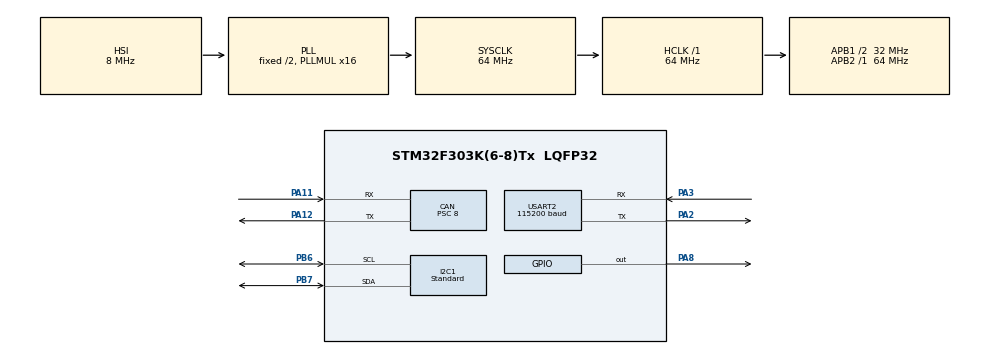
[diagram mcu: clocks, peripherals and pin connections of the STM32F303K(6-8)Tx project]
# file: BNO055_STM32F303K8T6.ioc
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CAN.BS1=CAN_BS1_13TQ
CAN.BS2=CAN_BS2_2TQ
CAN.CalculateBaudRate=250000
CAN.CalculateTimeBit=4000
CAN.CalculateTimeQuantum=250.0
CAN.Prescaler=8
I2C1.I2C_Speed_Mode=I2C_Standard
I2C1.Timing=0x00201D2B
Mcu.Family=STM32F3
Mcu.Name=STM32F303K(6-8)Tx
Mcu.Package=LQFP32
NVIC.PriorityGroup=NVIC_PRIORITYGROUP_4
PA11.Mode=CAN_Activate
PA11.Signal=CAN_RX
PA12.Mode=CAN_Activate
PA12.Signal=CAN_TX
PA13.Mode=Serial_Wire
PA13.Signal=SYS_JTMS-SWDIO
PA14.Mode=Serial_Wire
PA14.Signal=SYS_JTCK-SWCLK
PA2.Mode=Asynchronous
PA2.Signal=USART2_TX
PA3.Mode=Asynchronous
PA3.Signal=USART2_RX
PA8.Signal=GPIO_Output
PB6.Mode=I2C
PB6.Signal=I2C1_SCL
PB7.Mode=I2C
PB7.Signal=I2C1_SDA
PF0\ /\ OSC_IN.Mode=HSE-External-Oscillator
PF0\ /\ OSC_IN.Signal=RCC_OSC_IN
PF1\ /\ OSC_OUT.Mode=HSE-External-Oscillator
PF1\ /\ OSC_OUT.Signal=RCC_OSC_OUT
ProjectManager.HeapSize=0x200
ProjectManager.StackSize=0x400
ProjectManager.TargetToolchain=STM32CubeIDE
RCC.AHBFreq_Value=64000000
RCC.APB1CLKDivider=RCC_HCLK_DIV2
RCC.APB1Freq_Value=32000000
RCC.APB1TimFreq_Value=64000000
RCC.APB2Freq_Value=64000000
RCC.APB2TimFreq_Value=64000000
RCC.CortexFreq_Value=64000000
RCC.HCLKFreq_Value=64000000
RCC.HSE_VALUE=8000000
RCC.HSI_VALUE=8000000
RCC.PLLMUL=RCC_PLL_MUL16
RCC.SYSCLKFreq_VALUE=64000000
RCC.SYSCLKSourceVirtual=RCC_SYSCLKSOURCE_PLLCLK
USART2.BaudRate=115200
USART2.VirtualMode-Asynchronous=VM_ASYNC
board=custom

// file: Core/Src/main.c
/* USER CODE BEGIN Header */
/**
  ******************************************************************************
  * @file           : main.c
  * @brief          : Main program body
  ******************************************************************************
  * @attention
  *
  * Copyright (c) 2026 STMicroelectronics.
  * All rights reserved.
  *
  * This software is licensed under terms that can be found in the LICENSE file
  * in the root directory of this software component.
  * If no LICENSE file comes with this software, it is provided AS-IS.
  *
  ******************************************************************************
  */
/* USER CODE END Header */
#include "main.h"

/* USER CODE BEGIN Includes */
#include "bno055.h"
#include "calib_storage.h"
#include "stdbool.h"
/* USER CODE END Includes */

CAN_HandleTypeDef hcan;

I2C_HandleTypeDef hi2c1;

UART_HandleTypeDef huart2;

/* USER CODE BEGIN PV */
char debug[64];
float quat[4];
float quat_filtered[4] = {1.0f, 0.0f, 0.0f, 0.0f};
float heading_raw;
float heading_filtered = -1.0f;
float head;
static float headingOffset = 0.0f;
static bool headingZeroed = false;

uint8_t TxData[8];
uint8_t RxData[8];
uint16_t can_Head = 0;
uint32_t TxMailbox;
uint32_t last_tick = 0;          /* for fixed-rate loop */

CAN_TxHeaderTypeDef TxHeader;
CAN_RxHeaderTypeDef RxHeader;

#define LOOP_PERIOD_MS       5U        /* 10 ms = 100 Hz */
#define QUAT_SLERP_ALPHA     0.15f      /* faster at 100 Hz — was 0.08 at 10 Hz */
#define HEADING_LPF_ALPHA    0.18f      /* faster at 100 Hz — was 0.10 at 10 Hz */
#define HEADING_JUMP_THRESH  60.0f
/* USER CODE END PV */

void SystemClock_Config(void);
static void MX_GPIO_Init(void);
static void MX_CAN_Init(void);
static void MX_I2C1_Init(void);
static void MX_USART2_UART_Init(void);
/* USER CODE BEGIN PFP */
void canTransmit(uint16_t val);
void canInit_recieveMultiID(void);
/* USER CODE END PFP */

int main(void)
{

  /* MCU Configuration--------------------------------------------------------*/

  /* Reset of all peripherals, Initializes the Flash interface and the Systick. */
  HAL_Init();

  /* Configure the system clock */
  SystemClock_Config();

  /* Initialize all configured peripherals */
  MX_GPIO_Init();
  MX_CAN_Init();
  MX_I2C1_Init();
  MX_USART2_UART_Init();
  /* USER CODE BEGIN 2 */
  //HAL_CAN_Start(&hcan);
  canInit_recieveMultiID();
  TxHeader.IDE = CAN_ID_STD;
  TxHeader.StdId = 0x691;
  TxHeader.RTR = CAN_RTR_DATA;
  TxHeader.DLC = 8;
  bno055_Reset();
  bno055_Scan();
  bno055_Post();
  bno055_Init();

  uint8_t offsets[CALIB_OFFSET_COUNT];

  if (calib_storage_load(offsets))
  {
    //serialWrite("Calibration data found in Flash — restoring offsets.\n");
    bno055_Offset_Write(offsets, CALIB_OFFSET_COUNT, BNO055_OPERATION_MODE_NDOF);
    HAL_Delay(650);
    ///serialWrite("Offsets restored — sensor ready.\n");
  }
  else
  {
    //serialWrite("No calibration data in Flash — starting full calibration.\n");
    //serialWrite("Follow the physical procedure:\n");
    //serialWrite("  1. Set on flat surface — do not touch (gyro)\n");
    //serialWrite("  2. Rotate through 6 distinct faces, hold each 2-3s (acc)\n");
    //serialWrite("  3. Figure-8 motion away from metal objects (mag)\n");

    bno055_SetOprMode(BNO055_OPERATION_MODE_NDOF);
    HAL_Delay(650);

    /*
     * Poll until sys=3 gyr=3 acc=3 mag=3 (calib == 0xFF).
     * 300 000 ms = 5 minutes — enough for even a slow magnetometer.
     * Increase if needed.
     */
    uint8_t calib = 0;
    bno055_Calibration_Status(&calib, 60000);

    if (calib == 0xFF)
    {
      bno055_Offset_Read(offsets, CALIB_OFFSET_COUNT, BNO055_OPERATION_MODE_NDOF);

      HAL_StatusTypeDef flash_status = calib_storage_save(offsets);

      if (flash_status == HAL_OK)
      {
        //serialWrite("Offsets saved to Flash.\n");
        //serialWrite("Future resets will skip calibration automatically.\n");
      }
      else
      {
        /*
         * Flash write failed — sensor is calibrated for this session
         * but offsets will be lost on next reset.
         */
        //snprintf(debug, sizeof(debug),
          //       "Flash write fail (HAL error %d). "
            //     "Offsets lost on reset.\n", (int)flash_status);
        //serialWrite(debug);
      }
    }
    else
    {
      //serialWrite("WARNING: Calibration timed out — partial offsets NOT saved.\n");
      //serialWrite("Heading may be inaccurate this session.\n");
    }
  }

  //serialWrite("Waiting for fusion engine...\n");
    {
      uint32_t t0 = HAL_GetTick();
      do {
        bno055_ReadQuatData(quat);
        HAL_Delay(10);
      } while (!bno055_QuatIsValid(quat) && (HAL_GetTick() - t0) < 1000U);

      if (bno055_QuatIsValid(quat))
      {
        /* Seed the SLERP accumulator and heading filter */
        quat_filtered[0] = quat[0];
        quat_filtered[1] = quat[1];
        quat_filtered[2] = quat[2];
        quat_filtered[3] = quat[3];
        heading_filtered  = bno055_QuatToHeading(quat_filtered);
       // serialWrite("Fusion engine ready.\n");
      }
      else
      {
        //serialWrite("WARNING: Fusion engine not ready after 1 s — proceeding.\n");
      }
    }

    //last_tick = HAL_GetTick();
  /* USER CODE END 2 */

  /* Infinite loop */
  /* USER CODE BEGIN WHILE */
    last_tick = HAL_GetTick();
    while (1)
    {
        /* USER CODE END WHILE */
        /* USER CODE BEGIN 3 */
		if (HAL_CAN_GetRxFifoFillLevel(&hcan, CAN_RX_FIFO0) > 0) {
			if (HAL_CAN_GetRxMessage(&hcan, CAN_RX_FIFO0, &RxHeader, RxData)
					!= HAL_OK) {
				Error_Handler();
			}
			if (RxHeader.StdId == 0x01 && RxData[0] == 1) {
				bno055_Reset();
				bno055_Scan();
				bno055_Post();
				bno055_Init();

				  uint8_t offsets[CALIB_OFFSET_COUNT];

				  if (calib_storage_load(offsets))
				  {
				   // serialWrite("Calibration data found in Flash — restoring offsets.\n");
				    bno055_Offset_Write(offsets, CALIB_OFFSET_COUNT, BNO055_OPERATION_MODE_NDOF);
				    HAL_Delay(650);
				    //serialWrite("Offsets restored — sensor ready.\n");
				  }

				  heading_filtered = -1.0f;
				  headingOffset = 0.0f;
				  headingZeroed = false;

				  //serialWrite("Waiting for fusion engine...\n");
				    {
				      uint32_t t0 = HAL_GetTick();
				      do {
				        bno055_ReadQuatData(quat);
				        HAL_Delay(10);
				      } while (!bno055_QuatIsValid(quat) && (HAL_GetTick() - t0) < 1000U);

				      if (bno055_QuatIsValid(quat))
				      {
				        /* Seed the SLERP accumulator and heading filter */
				        quat_filtered[0] = quat[0];
				        quat_filtered[1] = quat[1];
				        quat_filtered[2] = quat[2];
				        quat_filtered[3] = quat[3];
				        heading_filtered  = bno055_QuatToHeading(quat_filtered);
				    //    serialWrite("Fusion engine ready.\n");
				      }
				      else
				      {
				      //  serialWrite("WARNING: Fusion engine not ready after 1 s — proceeding.\n");
				      }
				    }
			}
			last_tick = HAL_GetTick();
		}

        /* ---- Fixed-rate timing: block until next 10 ms slot ---------- */
        uint32_t now = HAL_GetTick();
        if ((now - last_tick) < LOOP_PERIOD_MS) {
            /* Busy-wait the remainder — keeps jitter under 1 ms */
            continue;
        }
        last_tick = now;

        /* ---- 1. Read ------------------------------------------------- */
        bno055_ReadQuatData(quat);

        /* ---- 2. Validity gate ---------------------------------------- */
        if (!bno055_QuatIsValid(quat)) {
            /* Don't print every miss at 100 Hz — rate-limit the warning */
            static uint32_t invalid_count = 0;
            invalid_count++;
            if (invalid_count % 10 == 1) {    /* print 1st, 11th, 21st... */
               // snprintf(debug, sizeof(debug),
                 //        "WARN: invalid quat x%lu\n", invalid_count);
                //serialWrite(debug);
            }
            continue;   /* skip this tick, try again next 10 ms */
        }

        /* ---- 3. SLERP ------------------------------------------------ */
        bno055_QuatSlerp(quat_filtered, quat, QUAT_SLERP_ALPHA, quat_filtered);

        /* ---- 4. Raw heading from smoothed quat ----------------------- */
        heading_raw = bno055_QuatToHeading(quat_filtered);

        /* ---- 5. Seed filter on first valid reading ------------------- */
        if (heading_filtered < 0.0f) {
            heading_filtered = heading_raw;
        }

        /* ---- 6. Jump detection --------------------------------------- */
        if (HEADING_JUMP_THRESH > 0.0f &&
            bno055_HeadingJumpDetect(heading_raw, heading_filtered, HEADING_JUMP_THRESH)) {
            static uint32_t jump_count = 0;
            jump_count++;
            //snprintf(debug, sizeof(debug),
              //       "WARN: jump #%lu  %.1f->%.1f deg\n",
                //     jump_count,
                  //   (double)heading_filtered,
                    // (double)heading_raw);
            //serialWrite(debug);
            continue;
        }

        /* ---- 7. Circular LPF ---------------------------------------- */
        heading_filtered = bno055_HeadingLPF(heading_raw, heading_filtered,
                                              HEADING_LPF_ALPHA);

		if (!headingZeroed) {
		    headingOffset = heading_filtered;
		    headingZeroed = true;
		}

		float zeroedHeading = heading_filtered - headingOffset;
		head= zeroedHeading;
		if (zeroedHeading < 0.0f) zeroedHeading += 360.0f;
		if (zeroedHeading >= 360.0f) zeroedHeading -= 360.0f;

		can_Head = (uint16_t)(zeroedHeading * 100);

        /* ---- 8. Output ---------------------------------------------- */
        canTransmit(can_Head);
        //snprintf(debug, sizeof(debug), "Heading: %.2f deg\n", (double)zeroedHeading);
        //serialWrite(debug);
    }
    /* USER CODE END 3 */
}

void SystemClock_Config(void)
{
  RCC_OscInitTypeDef RCC_OscInitStruct = {0};
  RCC_ClkInitTypeDef RCC_ClkInitStruct = {0};
  RCC_PeriphCLKInitTypeDef PeriphClkInit = {0};

  /** Initializes the RCC Oscillators according to the specified parameters
  * in the RCC_OscInitTypeDef structure.
  */
  RCC_OscInitStruct.OscillatorType = RCC_OSCILLATORTYPE_HSI;
  RCC_OscInitStruct.HSIState = RCC_HSI_ON;
  RCC_OscInitStruct.HSICalibrationValue = RCC_HSICALIBRATION_DEFAULT;
  RCC_OscInitStruct.PLL.PLLState = RCC_PLL_ON;
  RCC_OscInitStruct.PLL.PLLSource = RCC_PLLSOURCE_HSI;
  RCC_OscInitStruct.PLL.PLLMUL = RCC_PLL_MUL16;
  if (HAL_RCC_OscConfig(&RCC_OscInitStruct) != HAL_OK)
  {
    Error_Handler();
  }

  /** Initializes the CPU, AHB and APB buses clocks
  */
  RCC_ClkInitStruct.ClockType = RCC_CLOCKTYPE_HCLK|RCC_CLOCKTYPE_SYSCLK
                              |RCC_CLOCKTYPE_PCLK1|RCC_CLOCKTYPE_PCLK2;
  RCC_ClkInitStruct.SYSCLKSource = RCC_SYSCLKSOURCE_PLLCLK;
  RCC_ClkInitStruct.AHBCLKDivider = RCC_SYSCLK_DIV1;
  RCC_ClkInitStruct.APB1CLKDivider = RCC_HCLK_DIV2;
  RCC_ClkInitStruct.APB2CLKDivider = RCC_HCLK_DIV1;

  if (HAL_RCC_ClockConfig(&RCC_ClkInitStruct, FLASH_LATENCY_2) != HAL_OK)
  {
    Error_Handler();
  }
  PeriphClkInit.PeriphClockSelection = RCC_PERIPHCLK_I2C1;
  PeriphClkInit.I2c1ClockSelection = RCC_I2C1CLKSOURCE_HSI;
  if (HAL_RCCEx_PeriphCLKConfig(&PeriphClkInit) != HAL_OK)
  {
    Error_Handler();
  }
}

static void MX_CAN_Init(void)
{

  hcan.Instance = CAN;
  hcan.Init.Prescaler = 8;
  hcan.Init.Mode = CAN_MODE_NORMAL;
  hcan.Init.SyncJumpWidth = CAN_SJW_1TQ;
  hcan.Init.TimeSeg1 = CAN_BS1_13TQ;
  hcan.Init.TimeSeg2 = CAN_BS2_2TQ;
  hcan.Init.TimeTriggeredMode = DISABLE;
  hcan.Init.AutoBusOff = DISABLE;
  hcan.Init.AutoWakeUp = DISABLE;
  hcan.Init.AutoRetransmission = DISABLE;
  hcan.Init.ReceiveFifoLocked = DISABLE;
  hcan.Init.TransmitFifoPriority = DISABLE;
  if (HAL_CAN_Init(&hcan) != HAL_OK)
  {
    Error_Handler();
  }

}

static void MX_I2C1_Init(void)
{

  hi2c1.Instance = I2C1;
  hi2c1.Init.Timing = 0x00201D2B;
  hi2c1.Init.OwnAddress1 = 0;
  hi2c1.Init.AddressingMode = I2C_ADDRESSINGMODE_7BIT;
  hi2c1.Init.DualAddressMode = I2C_DUALADDRESS_DISABLE;
  hi2c1.Init.OwnAddress2 = 0;
  hi2c1.Init.OwnAddress2Masks = I2C_OA2_NOMASK;
  hi2c1.Init.GeneralCallMode = I2C_GENERALCALL_DISABLE;
  hi2c1.Init.NoStretchMode = I2C_NOSTRETCH_DISABLE;
  if (HAL_I2C_Init(&hi2c1) != HAL_OK)
  {
    Error_Handler();
  }

  /** Configure Analogue filter
  */
  if (HAL_I2CEx_ConfigAnalogFilter(&hi2c1, I2C_ANALOGFILTER_ENABLE) != HAL_OK)
  {
    Error_Handler();
  }

  /** Configure Digital filter
  */
  if (HAL_I2CEx_ConfigDigitalFilter(&hi2c1, 0) != HAL_OK)
  {
    Error_Handler();
  }

}

static void MX_USART2_UART_Init(void)
{

  huart2.Instance = USART2;
  huart2.Init.BaudRate = 115200;
  huart2.Init.WordLength = UART_WORDLENGTH_8B;
  huart2.Init.StopBits = UART_STOPBITS_1;
  huart2.Init.Parity = UART_PARITY_NONE;
  huart2.Init.Mode = UART_MODE_TX_RX;
  huart2.Init.HwFlowCtl = UART_HWCONTROL_NONE;
  huart2.Init.OverSampling = UART_OVERSAMPLING_16;
  huart2.Init.OneBitSampling = UART_ONE_BIT_SAMPLE_DISABLE;
  huart2.AdvancedInit.AdvFeatureInit = UART_ADVFEATURE_NO_INIT;
  if (HAL_UART_Init(&huart2) != HAL_OK)
  {
    Error_Handler();
  }

}

static void MX_GPIO_Init(void)
{
  GPIO_InitTypeDef GPIO_InitStruct = {0};

  /* GPIO Ports Clock Enable */
  __HAL_RCC_GPIOF_CLK_ENABLE();
  __HAL_RCC_GPIOA_CLK_ENABLE();
  __HAL_RCC_GPIOB_CLK_ENABLE();

  /*Configure GPIO pin Output Level */
  HAL_GPIO_WritePin(GPIOA, GPIO_PIN_8, GPIO_PIN_RESET);

  /*Configure GPIO pin : PA8 */
  GPIO_InitStruct.Pin = GPIO_PIN_8;
  GPIO_InitStruct.Mode = GPIO_MODE_OUTPUT_PP;
  GPIO_InitStruct.Pull = GPIO_NOPULL;
  GPIO_InitStruct.Speed = GPIO_SPEED_FREQ_LOW;
  HAL_GPIO_Init(GPIOA, &GPIO_InitStruct);

}

/* USER CODE BEGIN 4 */
void canTransmit(uint16_t val) {
	TxData[0] = (uint8_t) (val & 0xFF);
	TxData[1] = (uint8_t) ((uint16_t)val >> 8);

	if (HAL_CAN_AddTxMessage(&hcan, &TxHeader, TxData, &TxMailbox) != HAL_OK) {
		Error_Handler();
	}
}

void canInit_recieveMultiID(void) {
	RxHeader.IDE = CAN_ID_STD;
	RxHeader.DLC = 8;
	//rxHeader.StdId = ;
	RxHeader.RTR = CAN_RTR_DATA;

	CAN_FilterTypeDef canfilterconfig;

	canfilterconfig.FilterActivation = CAN_FILTER_ENABLE;
	canfilterconfig.FilterBank = 1;
	canfilterconfig.FilterFIFOAssignment = CAN_FILTER_FIFO0;
	canfilterconfig.FilterMode = CAN_FILTERMODE_IDMASK;
	canfilterconfig.FilterScale = CAN_FILTERSCALE_32BIT;
	canfilterconfig.FilterIdHigh = 0x1fff;
	;
	canfilterconfig.FilterIdLow = 0xffff;
	canfilterconfig.FilterMaskIdHigh = 0;
	canfilterconfig.FilterMaskIdLow = 0;

	if (HAL_CAN_ConfigFilter(&hcan, &canfilterconfig) != HAL_OK) {
		Error_Handler();
	}

	if (HAL_CAN_Start(&hcan) != HAL_OK) {
		Error_Handler();
	}
}
/* USER CODE END 4 */

void Error_Handler(void)
{
  __disable_irq();
  while (1)
  {
  }
}
